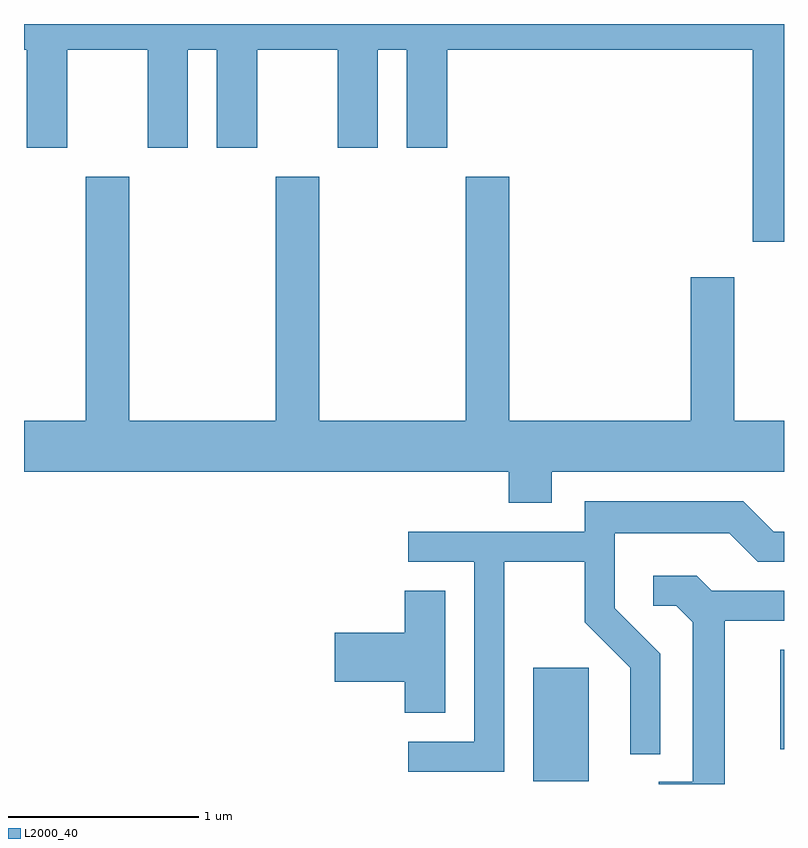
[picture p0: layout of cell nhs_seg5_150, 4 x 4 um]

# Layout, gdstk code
import gdstk
lib = gdstk.Library(unit=1e-6, precision=1e-09)
def R(c, l, rs):  # rectangles x0, y0, x1, y1
    for r in rs: c.add(gdstk.rectangle(r[:2], r[2:], *l))
def P(c, l, *ps):  # polygons
    for p in ps: c.add(gdstk.Polygon(p, *l))
L2000_40 = (2000, 40)

nhs_seg5_150 = lib.new_cell('nhs_seg5_150')
R(nhs_seg5_150, L2000_40, [(192.291,1424.086,192.584,1424.684), (193.591,1424.256,193.611,1424.779)])
P(nhs_seg5_150, L2000_40, [(193.611,1428.072),(189.611,1428.072),(189.611,1427.936),(189.626,1427.936),(189.626,1427.421),(189.839,1427.421),(189.839,1427.936),(190.261,1427.936),(190.261,1427.421),(190.474,1427.421),(190.474,1427.936),(190.626,1427.936),(190.626,1427.421),(190.839,1427.421),(190.839,1427.936),(191.261,1427.936),(191.261,1427.421),(191.474,1427.421),(191.474,1427.936),(191.626,1427.936),(191.626,1427.421),(191.839,1427.421),(191.839,1427.936),(193.446,1427.936),(193.446,1426.926),(193.611,1426.926)],
  [(192.389,1425.716),(193.611,1425.716),(193.611,1425.984),(193.349,1425.984),(193.349,1426.739),(193.121,1426.739),(193.121,1425.984),(192.164,1425.984),(192.164,1427.269),(191.936,1427.269),(191.936,1425.984),(191.164,1425.984),(191.164,1427.269),(190.936,1427.269),(190.936,1425.984),(190.164,1425.984),(190.164,1427.269),(189.936,1427.269),(189.936,1425.984),(189.611,1425.984),(189.611,1425.716),(192.161,1425.716),(192.161,1425.551),(192.389,1425.551)],
  [(192.139,1425.241),(192.561,1425.241),(192.561,1424.924),(192.801,1424.684),(192.801,1424.228),(192.959,1424.228),(192.959,1424.757),(192.719,1424.997),(192.719,1425.391),(193.324,1425.391),(193.474,1425.241),(193.611,1425.241),(193.611,1425.399),(193.557,1425.399),(193.397,1425.559),(192.561,1425.559),(192.561,1425.399),(191.633,1425.399),(191.633,1425.241),(191.981,1425.241),(191.981,1424.294),(191.633,1424.294),(191.633,1424.136),(192.139,1424.136)],
  [(193.299,1424.931),(193.611,1424.931),(193.611,1425.089),(193.232,1425.089),(193.152,1425.169),(192.923,1425.169),(192.923,1425.011),(193.044,1425.011),(193.131,1424.924),(193.131,1424.084),(192.953,1424.084),(192.953,1424.072),(193.299,1424.072)],
  [(191.829,1425.089),(191.616,1425.089),(191.616,1424.869),(191.246,1424.869),(191.246,1424.611),(191.616,1424.611),(191.616,1424.446),(191.829,1424.446)])

lib.write_gds('nhs_seg5_150.gds')
